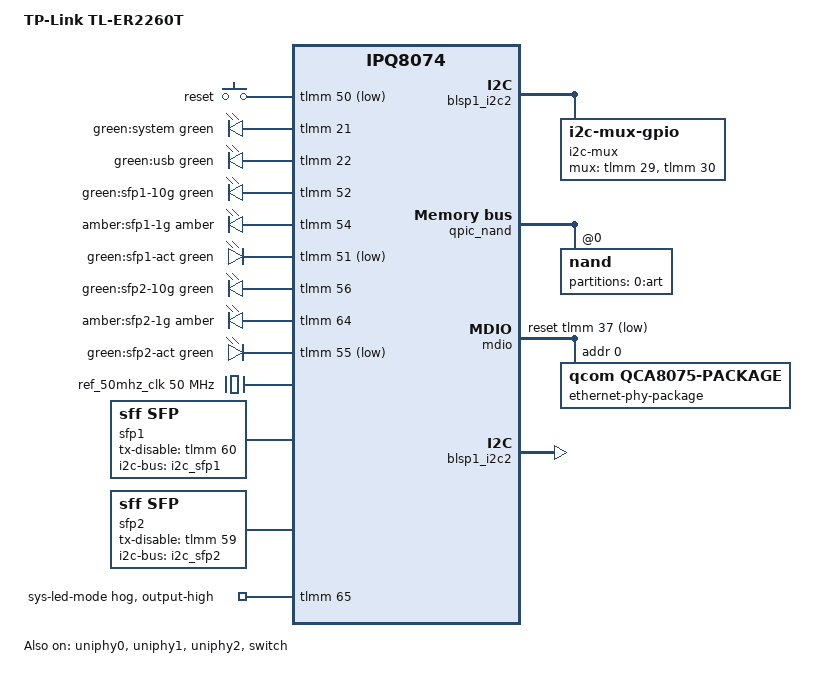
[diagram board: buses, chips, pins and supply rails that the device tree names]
// SPDX-License-Identifier: GPL-2.0-only
/* Copyright (c) 2020 The Linux Foundation. All rights reserved. */
/* Copyright (c) 2026 ViKing <viking.yfy@qq.com> */

/dts-v1/;

#include "ipq8074.dtsi"
#include "ipq8074-ess.dtsi"
#include "ipq8074-nss.dtsi"
#include "ipq8074-common.dtsi"
#include "ipq8074-hk-cpu.dtsi"

#include <dt-bindings/gpio/gpio.h>
#include <dt-bindings/input/input.h>
#include <dt-bindings/leds/common.h>

/ {
	model = "TP-Link TL-ER2260T";
	compatible = "tplink,tl-er2260t", "qcom,ipq8074";

	aliases {
		label-mac-device = &swport1;
		serial0 = &blsp1_uart5;

		led-boot = &led_system_green;
		led-failsafe = &led_system_green;
		led-running = &led_system_green;
		led-upgrade = &led_system_green;
	};

	chosen {
		stdout-path = "serial0:115200n8";
		bootargs-append = " root=/dev/ubiblock0_1 coherent_pool=2M swiotlb=noforce";
	};

	keys {
		compatible = "gpio-keys";

		reset {
			label = "reset";
			linux,code = <KEY_RESTART>;
			gpios = <&tlmm 50 GPIO_ACTIVE_LOW>;
		};
	};

	leds {
		compatible = "gpio-leds";

		led_system_green: system-green {
			label = "green:system";
			gpios = <&tlmm 21 GPIO_ACTIVE_HIGH>;
			color = <LED_COLOR_ID_GREEN>;
		};

		led_usb_green {
			label = "green:usb";
			gpios = <&tlmm 22 GPIO_ACTIVE_HIGH>;
			color = <LED_COLOR_ID_GREEN>;
		};

		led_sfp1_speed_green {
			label = "green:sfp1-10g";
			gpios = <&tlmm 52 GPIO_ACTIVE_HIGH>;
			color = <LED_COLOR_ID_GREEN>;
		};

		led_sfp1_speed_amber {
			label = "amber:sfp1-1g";
			gpios = <&tlmm 54 GPIO_ACTIVE_HIGH>;
			color = <LED_COLOR_ID_AMBER>;
		};

		led_sfp1_act_green {
			label = "green:sfp1-act";
			gpios = <&tlmm 51 GPIO_ACTIVE_LOW>;
			color = <LED_COLOR_ID_GREEN>;
		};

		led_sfp2_speed_green {
			label = "green:sfp2-10g";
			gpios = <&tlmm 56 GPIO_ACTIVE_HIGH>;
			color = <LED_COLOR_ID_GREEN>;
		};

		led_sfp2_speed_amber {
			label = "amber:sfp2-1g";
			gpios = <&tlmm 64 GPIO_ACTIVE_HIGH>;
			color = <LED_COLOR_ID_AMBER>;
		};

		led_sfp2_act_green {
			label = "green:sfp2-act";
			gpios = <&tlmm 55 GPIO_ACTIVE_LOW>;
			color = <LED_COLOR_ID_GREEN>;
		};
	};

	clocks {
		ref_50mhz_clk: ref-50mhz-clk {
			compatible = "fixed-clock";
			clock-frequency = <50000000>;
			#clock-cells = <0>;
		};
	};

	i2c-mux {
		compatible = "i2c-mux-gpio";
		i2c-parent = <&blsp1_i2c2>;
		#address-cells = <1>;
		#size-cells = <0>;
		mux-gpios = <&tlmm 29 GPIO_ACTIVE_HIGH>,
			    <&tlmm 30 GPIO_ACTIVE_HIGH>;
		idle-state = <0>;

		i2c_sfp1: i2c@2 {
			reg = <2>;
			#address-cells = <1>;
			#size-cells = <0>;
		};

		i2c_sfp2: i2c@1 {
			reg = <1>;
			#address-cells = <1>;
			#size-cells = <0>;
		};
	};

	sfp1: sfp-1 {
		compatible = "sff,sfp";
		i2c-bus = <&i2c_sfp1>;
		maximum-power-milliwatt = <3000>;
		tx-disable-gpios = <&tlmm 60 GPIO_ACTIVE_HIGH>;
	};

	sfp2: sfp-2 {
		compatible = "sff,sfp";
		i2c-bus = <&i2c_sfp2>;
		maximum-power-milliwatt = <3000>;
		tx-disable-gpios = <&tlmm 59 GPIO_ACTIVE_HIGH>;
	};
};

&cmn_pll {
	clocks = <&ref_50mhz_clk>,
		 <&gcc GCC_CMN_12GPLL_AHB_CLK>,
		 <&gcc GCC_CMN_12GPLL_SYS_CLK>;
};

&qpic_nand {
	status = "okay";

	/* Keep the legacy U-Boot fixup from replacing the SMEM parser node. */
	partitions {
		status = "disabled";
	};

	nand@0 {
		reg = <0>;

		nand-ecc-strength = <4>;
		nand-ecc-step-size = <512>;
		nand-bus-width = <8>;

		partitions {
			compatible = "qcom,smem-part";

			partition-0-art {
				label = "0:art";
				read-only;

				nvmem-layout {
					compatible = "fixed-layout";
					#address-cells = <1>;
					#size-cells = <1>;

					macaddr: macaddr@10000d {
						compatible = "mac-base";
						reg = <0x10000d 0x6>;
						#nvmem-cell-cells = <1>;
					};
				};
			};
		};
	};
};

&mdio {
	status = "okay";
	pinctrl-0 = <&mdio_pins>;
	pinctrl-names = "default";
	reset-gpios = <&tlmm 37 GPIO_ACTIVE_LOW>;

	ethernet-phy-package@0 {
		compatible = "qcom,qca8075-package";
		#address-cells = <1>;
		#size-cells = <0>;
		reg = <0>;

		qca8075_0: ethernet-phy@0 {
			compatible = "ethernet-phy-ieee802.3-c22";
			reg = <0>;
		};

		qca8075_1: ethernet-phy@1 {
			compatible = "ethernet-phy-ieee802.3-c22";
			reg = <1>;
		};

		qca8075_2: ethernet-phy@2 {
			compatible = "ethernet-phy-ieee802.3-c22";
			reg = <2>;
		};

		qca8075_3: ethernet-phy@3 {
			compatible = "ethernet-phy-ieee802.3-c22";
			reg = <3>;
		};
	};
};

&uniphy0 {
	status = "okay";
};

&uniphy1 {
	status = "okay";
};

&uniphy2 {
	status = "okay";
};

&switch {
	status = "okay";

	ports {
		#address-cells = <1>;
		#size-cells = <0>;

		port@0 {
			reg = <0>;
			ethernet = <&edma>;
			phy-mode = "internal";

			fixed-link {
				speed = <1000>;
				full-duplex;
			};
		};

		swport1: port@1 {
			reg = <1>;
			label = "ge1";
			phy-handle = <&qca8075_0>;
			phy-mode = "psgmii";
			pcs-handle = <&uniphy0 0>;
			nvmem-cells = <&macaddr 0>;
			nvmem-cell-names = "mac-address";
		};

		swport2: port@2 {
			reg = <2>;
			label = "ge2";
			phy-handle = <&qca8075_1>;
			phy-mode = "psgmii";
			pcs-handle = <&uniphy0 1>;
			nvmem-cells = <&macaddr 0>;
			nvmem-cell-names = "mac-address";
		};

		swport3: port@3 {
			reg = <3>;
			label = "ge3";
			phy-handle = <&qca8075_2>;
			phy-mode = "psgmii";
			pcs-handle = <&uniphy0 2>;
			nvmem-cells = <&macaddr 0>;
			nvmem-cell-names = "mac-address";
		};

		swport4: port@4 {
			reg = <4>;
			label = "ge4";
			phy-handle = <&qca8075_3>;
			phy-mode = "psgmii";
			pcs-handle = <&uniphy0 3>;
			nvmem-cells = <&macaddr 0>;
			nvmem-cell-names = "mac-address";
		};

		swport5: port@5 {
			reg = <5>;
			label = "10ge2";
			sfp = <&sfp2>;
			phy-mode = "10gbase-r";
			managed = "in-band-status";
			pcs-handle = <&uniphy1 0>;
			nvmem-cells = <&macaddr 2>;
			nvmem-cell-names = "mac-address";
		};

		swport6: port@6 {
			reg = <6>;
			label = "10ge1";
			sfp = <&sfp1>;
			phy-mode = "10gbase-r";
			managed = "in-band-status";
			pcs-handle = <&uniphy2 0>;
			nvmem-cells = <&macaddr 1>;
			nvmem-cell-names = "mac-address";
		};
	};
};

&blsp1_i2c2 {
	status = "okay";
};

&edma {
	status = "okay";
};

&tlmm {
	/* Disable the hardware fast-blink override of the SYS LED. */
	sys-led-mode-hog {
		gpio-hog;
		gpios = <65 GPIO_ACTIVE_HIGH>;
		output-high;
		line-name = "sys-led-mode";
	};
};
